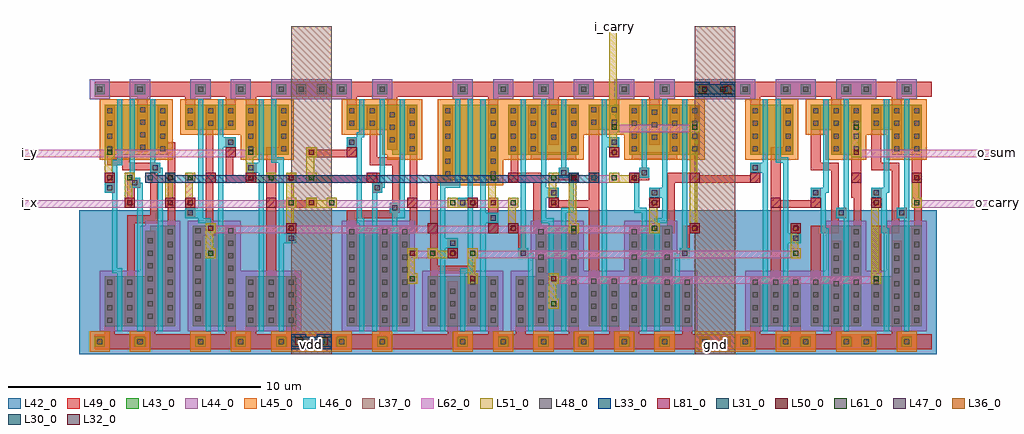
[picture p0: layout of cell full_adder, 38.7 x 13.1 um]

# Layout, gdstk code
from math import pi, radians
import gdstk
lib = gdstk.Library(unit=1e-6, precision=1e-09)
def R(c, l, rs):  # rectangles x0, y0, x1, y1
    for r in rs: c.add(gdstk.rectangle(r[:2], r[2:], *l))
def A(c, l, x, y, w, h, nx, ny, dx, dy):  # array of equal rectangles
    R(c, l, [(x+i*dx, y+j*dy, x+i*dx+w, y+j*dy+h) for i in range(nx) for j in range(ny)])
L30_0 = (30, 0)
L31_0 = (31, 0)
L32_0 = (32, 0)
L33_0 = (33, 0)
L36_0 = (36, 0)
L37_0 = (37, 0)
L42_0 = (42, 0)
L43_0 = (43, 0)
L44_0 = (44, 0)
L45_0 = (45, 0)
L46_0 = (46, 0)
L47_0 = (47, 0)
L48_0 = (48, 0)
L49_0 = (49, 0)
L50_0 = (50, 0)
L51_0 = (51, 0)
L61_0 = (61, 0)
L62_0 = (62, 0)
L81_0 = (81, 0)

and2x2 = lib.new_cell('AND2X2')
R(and2x2, L42_0, [(-0.8,4.8,4,10.5)])
R(and2x2, L43_0, [(-0.2,-0.2,0.2,0.2), (1.4,-0.2,1.8,0.2), (0.2,0.6,2.7,2.6), (2,5.4,3,5.6), (1.8,5.6,3,7.4), (0.2,7.4,3,9.4), (-0.2,9.8,0.2,10.2), (1.4,9.8,1.8,10.2)])
R(and2x2, L44_0, [(-0.4,-0.4,0.4,0.4), (1.2,-0.4,2,0.4), (1.8,5.2,3.2,5.4), (1.6,5.4,3.2,7.2), (0,7.2,3.2,9.6)])
R(and2x2, L45_0, [(0,0.4,2.9,2.8), (-0.4,9.6,0.4,10.4), (1.2,9.6,2,10.4)])
R(and2x2, L46_0, [(0.7,0.4,0.9,2.8), (1.2,0.4,1.4,3.5), (2,0.4,2.2,2.9), (0.5,2.8,0.9,3), (2,2.9,2.4,3.1), (0.5,3,0.7,3.7), (2,3.1,2.5,3.3), (2.3,3.3,2.5,9.6), (1.2,3.5,1.6,3.7), (0.2,3.7,0.7,4.1), (1.2,3.7,1.7,3.9), (1.5,3.9,1.7,9.6), (0.5,4.1,0.7,7.1), (0.5,7.1,0.9,7.3), (0.7,7.3,0.9,9.6)])
R(and2x2, L47_0, [(2.1,3,2.3,3.2), (1.3,3.6,1.5,3.8), (0.3,3.8,0.5,4)])
A(and2x2, L48_0, 1.6, 0.7, 0.2, 0.2, 1, 4, 0, 0.5)
A(and2x2, L48_0, 0.3, 0.75, 0.2, 0.2, 1, 4, 0, 0.5)
A(and2x2, L48_0, 2.4, 0.75, 0.2, 0.2, 1, 4, 0, 0.5)
A(and2x2, L48_0, 2.7, 5.55, 0.2, 0.2, 1, 8, 0, 0.5)
A(and2x2, L48_0, 1.9, 5.9, 0.2, 0.2, 1, 7, 0, 0.5)
A(and2x2, L48_0, 0.3, 7.55, 0.2, 0.2, 1, 4, 0, 0.5)
A(and2x2, L48_0, 1.1, 7.55, 0.2, 0.2, 1, 4, 0, 0.5)
R(and2x2, L48_0, [(-0.1,-0.1,0.1,0.1), (1.5,-0.1,1.7,0.1), (-0.1,9.9,0.1,10.1), (1.5,9.9,1.7,10.1)])
R(and2x2, L49_0, [(-0.2,-0.3,3.4,0.3), (1.5,0.3,1.9,2.5), (0.2,0.6,0.6,2.6), (2.3,0.6,2.7,2.1), (2.3,2.1,3,2.6), (0.3,2.6,0.6,2.7), (2.7,2.6,3,4.3), (0.3,2.7,1.2,2.9), (0.3,2.9,2.4,3), (0.9,3,2.4,3.2), (2,3.2,2.4,3.3), (0.2,3.3,0.6,4.1), (2,3.3,2.3,5), (1.2,3.5,1.6,3.6), (1.1,3.6,1.6,3.9), (1.1,3.9,1.4,4.3), (1,4.3,1.4,4.7), (2.6,4.3,3,4.7), (2.7,4.7,3,5.4), (1.1,5,2.3,5.3), (1.1,5.3,1.4,7.4), (2.6,5.4,3,9.4), (1.8,5.6,2.2,9.7), (0.2,7.4,0.6,9.7), (1,7.4,1.4,9.4), (-0.2,9.7,3.4,10.3)])
R(and2x2, L81_0, [(0.2,3.3,0.6,3.7), (1,4.3,1.4,4.7), (2.6,4.3,3,4.7)])
and2x2.add(gdstk.Label('vdd', (0.4,10), layer=109, texttype=0))
and2x2.add(gdstk.Label('gnd', (0.4,0), layer=109, texttype=0))
and2x2.add(gdstk.Label('A', (0.4,3.5), layer=109, texttype=0))
and2x2.add(gdstk.Label('B', (1.2,4.5), layer=109, texttype=0))
and2x2.add(gdstk.Label('Y', (2.8,4.5), layer=109, texttype=0))

nor2x1 = lib.new_cell('NOR2X1')
R(nor2x1, L42_0, [(-0.8,4.8,3.2,10.5)])
R(nor2x1, L43_0, [(-0.2,-0.2,0.2,0.2), (1.4,-0.2,1.8,0.2), (0.2,0.6,2.2,1.6), (0.2,5.4,1.9,9.4), (-0.2,9.8,0.2,10.2), (1.4,9.8,1.8,10.2)])
R(nor2x1, L44_0, [(-0.4,-0.4,0.4,0.4), (1.2,-0.4,2,0.4), (0,5.2,2.1,9.6)])
R(nor2x1, L45_0, [(0,0.4,2.4,1.8), (-0.4,9.6,0.4,10.4), (1.2,9.6,2,10.4)])
R(nor2x1, L46_0, [(0.7,0.4,0.9,1.9), (1.5,0.4,1.7,4.7), (0.2,1.9,0.9,2.3), (0.7,2.3,0.9,9.6), (1.5,4.7,2.2,5.1), (1.2,5.1,1.7,5.3), (1.2,5.3,1.4,9.6)])
R(nor2x1, L47_0, [(0.3,2,0.5,2.2), (1.9,4.8,2.1,5)])
A(nor2x1, L48_0, 0.3, 0.75, 0.2, 0.2, 3, 2, 0.8, 0.5)
A(nor2x1, L48_0, 0.3, 5.5, 0.2, 0.2, 1, 8, 0, 0.5)
A(nor2x1, L48_0, 1.6, 5.5, 0.2, 0.2, 1, 8, 0, 0.5)
R(nor2x1, L48_0, [(-0.1,-0.1,0.1,0.1), (1.5,-0.1,1.7,0.1), (-0.1,9.9,0.1,10.1), (1.5,9.9,1.7,10.1)])
R(nor2x1, L49_0, [(-0.2,-0.3,2.6,0.3), (0.2,0.3,0.6,1.6), (1.8,0.3,2.2,1.6), (1,0.6,1.4,1.6), (1.1,1.6,1.4,3.3), (0.2,1.9,0.6,2.7), (1,3.3,1.4,3.7), (1.1,3.7,1.4,5.4), (1.8,4.3,2.2,5.1), (0.2,5.4,0.6,9.7), (1,5.4,1.9,5.8), (1.5,5.8,1.9,9.4), (-0.2,9.7,2.6,10.3)])
R(nor2x1, L81_0, [(0.2,2.3,0.6,2.7), (1,3.3,1.4,3.7), (1.8,4.3,2.2,4.7)])
nor2x1.add(gdstk.Label('vdd', (0.4,10), layer=109, texttype=0))
nor2x1.add(gdstk.Label('B', (2,4.5), layer=109, texttype=0))
nor2x1.add(gdstk.Label('gnd', (0.4,0), layer=109, texttype=0))
nor2x1.add(gdstk.Label('Y', (1.2,3.5), layer=109, texttype=0))
nor2x1.add(gdstk.Label('A', (0.4,2.5), layer=109, texttype=0))

nand2x1 = lib.new_cell('NAND2X1')
R(nand2x1, L42_0, [(-0.8,4.8,3.2,10.5)])
R(nand2x1, L43_0, [(-0.2,-0.2,0.2,0.2), (1.4,-0.2,1.8,0.2), (0.2,0.6,1.9,2.6), (0.2,7.4,2.2,9.4), (-0.2,9.8,0.2,10.2), (1.4,9.8,1.8,10.2)])
R(nand2x1, L44_0, [(-0.4,-0.4,0.4,0.4), (1.2,-0.4,2,0.4), (0,7.2,2.4,9.6)])
R(nand2x1, L45_0, [(0,0.4,2.1,2.8), (-0.4,9.6,0.4,10.4), (1.2,9.6,2,10.4)])
R(nand2x1, L46_0, [(0.7,0.4,0.9,2.9), (1.2,0.4,1.4,2.7), (1.2,2.7,1.7,2.9), (0.2,2.9,0.9,3.3), (1.5,2.9,1.7,5.7), (0.7,3.3,0.9,9.6), (1.5,5.7,2.2,6.1), (1.5,6.1,1.7,9.6)])
R(nand2x1, L47_0, [(0.3,3,0.5,3.2), (1.9,5.8,2.1,6)])
A(nand2x1, L48_0, 0.3, 0.75, 0.2, 0.2, 1, 4, 0, 0.5)
A(nand2x1, L48_0, 1.6, 0.75, 0.2, 0.2, 1, 4, 0, 0.5)
A(nand2x1, L48_0, 0.3, 7.55, 0.2, 0.2, 3, 4, 0.8, 0.5)
R(nand2x1, L48_0, [(-0.1,-0.1,0.1,0.1), (1.5,-0.1,1.7,0.1), (-0.1,9.9,0.1,10.1), (1.5,9.9,1.7,10.1)])
R(nand2x1, L49_0, [(-0.2,-0.3,2.6,0.3), (0.2,0.3,0.6,2.6), (1.5,0.6,1.9,2.3), (1,2.3,1.9,2.6), (1,2.6,1.4,9.4), (0.2,2.9,0.6,3.7), (1.8,5.3,2.2,6.1), (0.2,7.4,0.6,9.7), (1.8,7.4,2.2,9.7), (-0.2,9.7,2.6,10.3)])
R(nand2x1, L81_0, [(0.2,3.3,0.6,3.7), (1,4.3,1.4,4.7), (1.8,5.3,2.2,5.7)])
nand2x1.add(gdstk.Label('vdd', (0.4,10), layer=109, texttype=0))
nand2x1.add(gdstk.Label('Y', (1.2,4.5), layer=109, texttype=0))
nand2x1.add(gdstk.Label('gnd', (0.4,0), layer=109, texttype=0))
nand2x1.add(gdstk.Label('A', (0.4,3.5), layer=109, texttype=0))
nand2x1.add(gdstk.Label('B', (2,5.5), layer=109, texttype=0))

fill = lib.new_cell('FILL')
R(fill, L42_0, [(-0.8,4.8,1.6,10.5)])
R(fill, L43_0, [(-0.2,-0.2,0.2,0.2), (0.6,-0.2,1,0.2), (-0.2,9.8,0.2,10.2), (0.6,9.8,1,10.2)])
R(fill, L44_0, [(-0.4,-0.4,1.2,0.4)])
R(fill, L45_0, [(-0.4,9.6,1.2,10.4)])
R(fill, L48_0, [(-0.1,-0.1,0.1,0.1), (0.7,-0.1,0.9,0.1), (-0.1,9.9,0.1,10.1), (0.7,9.9,0.9,10.1)])
R(fill, L49_0, [(-0.2,-0.3,1,0.3), (-0.2,9.7,1,10.3)])
fill.add(gdstk.Label('vdd', (0.4,10), layer=109, texttype=0))
fill.add(gdstk.Label('gnd', (0.4,0), layer=109, texttype=0))

or2x2 = lib.new_cell('OR2X2')
R(or2x2, L42_0, [(-0.7,4.8,3.5,10.5)])
R(or2x2, L43_0, [(-0.2,-0.2,0.2,0.2), (1.4,-0.2,1.8,0.2), (0.2,0.6,3,1.6), (1.8,1.6,3,2.4), (2,2.4,3,2.6), (0.2,5.4,2.7,9.4), (-0.2,9.8,0.2,10.2), (1.4,9.8,1.8,10.2)])
R(or2x2, L44_0, [(-0.4,-0.4,0.4,0.4), (1.2,-0.4,2,0.4), (0,5.2,2.9,9.6)])
R(or2x2, L45_0, [(0,0.4,3.2,1.8), (1.6,1.8,3.2,2.6), (1.8,2.6,3.2,2.8), (-0.4,9.6,0.4,10.4), (1.2,9.6,2,10.4)])
R(or2x2, L46_0, [(0.7,0.4,0.9,1.7), (1.5,0.4,1.7,3.7), (2.3,0.4,2.5,4.5), (0.6,1.7,0.9,1.9), (0.2,1.9,0.8,2.3), (0.6,2.3,0.8,5.1), (1.2,3.7,1.7,3.9), (1.2,3.9,1.6,4.1), (1.2,4.1,1.4,9.6), (1.9,4.5,2.5,4.9), (2,4.9,2.5,5.1), (0.6,5.1,0.9,5.3), (2,5.1,2.2,9.6), (0.7,5.3,0.9,9.6)])
R(or2x2, L47_0, [(0.3,2,0.5,2.2), (1.3,3.8,1.5,4), (2,4.6,2.2,4.8)])
A(or2x2, L48_0, 2.7, 0.75, 0.2, 0.2, 1, 4, 0, 0.5)
A(or2x2, L48_0, 1.9, 0.9, 0.2, 0.2, 1, 3, 0, 0.5)
A(or2x2, L48_0, 0.3, 5.55, 0.2, 0.2, 1, 8, 0, 0.5)
A(or2x2, L48_0, 1.6, 5.55, 0.2, 0.2, 1, 8, 0, 0.5)
A(or2x2, L48_0, 2.4, 5.55, 0.2, 0.2, 1, 8, 0, 0.5)
R(or2x2, L48_0, [(-0.1,-0.1,0.1,0.1), (1.5,-0.1,1.7,0.1), (0.3,0.75,0.5,0.95), (1.1,0.75,1.3,0.95), (0.3,1.25,0.5,1.45), (1.1,1.25,1.3,1.45), (-0.1,9.9,0.1,10.1), (1.5,9.9,1.7,10.1)])
R(or2x2, L49_0, [(-0.2,-0.3,3.4,0.3), (0.2,0.3,0.6,1.6), (1.8,0.3,2.2,2.4), (1,0.6,1.4,1.6), (2.6,0.6,3,2.6), (1.1,1.6,1.4,2.7), (0.2,1.9,0.6,2.7), (2.7,2.6,3,4.3), (1.1,2.7,2.3,3), (2,3,2.3,4.5), (1,3.3,1.5,3.7), (1.2,3.7,1.6,4.1), (2.6,4.3,3,4.7), (1.9,4.5,2.3,4.8), (2.7,4.7,3,5.4), (0.2,4.8,2.3,4.9), (0.2,4.9,2.2,5.1), (0.2,5.1,0.6,9.4), (1.5,5.4,1.9,9.7), (2.3,5.4,3,5.7), (2.3,5.7,2.7,9.4), (-0.2,9.7,3.4,10.3)])
R(or2x2, L81_0, [(0.2,2.3,0.6,2.7), (1,3.3,1.4,3.7), (2.6,4.3,3,4.7)])
or2x2.add(gdstk.Label('Y', (2.8,4.5), layer=109, texttype=0))
or2x2.add(gdstk.Label('B', (1.2,3.5), layer=109, texttype=0))
or2x2.add(gdstk.Label('vdd', (0.4,10), layer=109, texttype=0))
or2x2.add(gdstk.Label('gnd', (0.4,0), layer=109, texttype=0))
or2x2.add(gdstk.Label('A', (0.4,2.5), layer=109, texttype=0))

nand3x1 = lib.new_cell('NAND3X1')
R(nand3x1, L42_0, [(-0.8,4.8,4,10.5)])
R(nand3x1, L43_0, [(-0.2,-0.2,0.2,0.2), (1.4,-0.2,1.8,0.2), (0.2,0.6,2.4,3.6), (0.2,7.4,3,9.4), (-0.2,9.8,0.2,10.2), (1.4,9.8,1.8,10.2)])
R(nand3x1, L44_0, [(-0.4,-0.4,0.4,0.4), (1.2,-0.4,2,0.4), (0,7.2,3.2,9.6)])
R(nand3x1, L45_0, [(0,0.4,2.6,3.8), (-0.4,9.6,0.4,10.4), (1.2,9.6,2,10.4)])
R(nand3x1, L46_0, [(0.7,0.4,0.9,4.9), (1.2,0.4,1.4,4.3), (1.7,0.4,1.9,3.7), (1.7,3.7,2.5,3.9), (2.3,3.9,2.5,5.9), (1.2,4.3,1.8,4.7), (1.2,4.7,1.4,7.1), (0.2,4.9,0.9,5.3), (0.7,5.3,0.9,9.6), (1.8,5.9,2.5,6.3), (2.3,6.3,2.5,9.6), (1.2,7.1,1.7,7.3), (1.5,7.3,1.7,9.6)])
R(nand3x1, L47_0, [(1.5,4.4,1.7,4.6), (0.3,5,0.5,5.2), (1.9,6,2.1,6.2)])
A(nand3x1, L48_0, 0.3, 0.75, 0.2, 0.2, 1, 6, 0, 0.5)
A(nand3x1, L48_0, 2.1, 0.75, 0.2, 0.2, 1, 6, 0, 0.5)
A(nand3x1, L48_0, 0.3, 7.55, 0.2, 0.2, 1, 4, 0, 0.5)
A(nand3x1, L48_0, 1.1, 7.55, 0.2, 0.2, 1, 4, 0, 0.5)
A(nand3x1, L48_0, 2.7, 7.55, 0.2, 0.2, 1, 4, 0, 0.5)
A(nand3x1, L48_0, 1.9, 7.9, 0.2, 0.2, 1, 3, 0, 0.5)
R(nand3x1, L48_0, [(-0.1,-0.1,0.1,0.1), (1.5,-0.1,1.7,0.1), (-0.1,9.9,0.1,10.1), (1.5,9.9,1.7,10.1)])
R(nand3x1, L49_0, [(-0.2,-0.3,3.4,0.3), (0.2,0.3,0.6,3.6), (2,0.6,2.4,3.4), (2,3.4,2.9,3.6), (2.1,3.6,2.9,3.7), (2.6,3.7,2.9,5.3), (1,4.3,1.8,4.7), (0.2,4.9,0.6,5.7), (2.6,5.3,3,5.7), (2.6,5.7,2.9,7), (1.8,5.9,2.2,6.7), (1.1,7,2.9,7.3), (1.1,7.3,1.4,7.4), (2.6,7.3,2.9,7.4), (0.2,7.4,0.6,9.7), (1,7.4,1.4,9.4), (2.6,7.4,3,9.4), (1.8,7.6,2.2,9.7), (-0.2,9.7,3.4,10.3)])
R(nand3x1, L81_0, [(1,4.3,1.4,4.7), (0.2,5.3,0.6,5.7), (2.6,5.3,3,5.7), (1.8,6.3,2.2,6.7)])
nand3x1.add(gdstk.Label('B', (1.2,4.5), layer=109, texttype=0))
nand3x1.add(gdstk.Label('vdd', (0.4,10), layer=109, texttype=0))
nand3x1.add(gdstk.Label('gnd', (0.4,0), layer=109, texttype=0))
nand3x1.add(gdstk.Label('A', (0.4,5.5), layer=109, texttype=0))
nand3x1.add(gdstk.Label('C', (2,6.5), layer=109, texttype=0))
nand3x1.add(gdstk.Label('Y', (2.8,5.5), layer=109, texttype=0))

oai21x1 = lib.new_cell('OAI21X1')
R(oai21x1, L42_0, [(-0.8,4.8,3.4,10.5)])
R(oai21x1, L43_0, [(-0.2,-0.2,0.2,0.2), (1.4,-0.2,1.8,0.2), (0.2,0.6,3,2.6), (0.2,5.4,1.9,7.4), (0.2,7.4,2.7,9.4), (-0.2,9.8,0.2,10.2), (1.4,9.8,1.8,10.2)])
R(oai21x1, L44_0, [(-0.4,-0.4,0.4,0.4), (1.2,-0.4,2,0.4), (0,5.2,2.1,7.2), (0,7.2,2.9,9.6)])
R(oai21x1, L45_0, [(0,0.4,3.2,2.8), (-0.4,9.6,0.4,10.4), (1.2,9.6,2,10.4)])
R(oai21x1, L46_0, [(0.7,0.4,0.9,3.1), (1.5,0.4,1.7,3.9), (2.3,0.4,2.5,6.3), (0.6,3.1,1,3.3), (0.4,3.3,1,3.5), (0.4,3.5,0.6,4.7), (1,3.9,1.7,4.3), (1.5,4.3,1.7,5.1), (0.4,4.7,0.9,4.9), (0.7,4.9,0.9,9.6), (1.2,5.1,1.7,5.3), (1.2,5.3,1.4,9.6), (2.2,6.3,2.6,6.5), (2,6.5,2.6,6.7), (2,6.7,2.2,9.6)])
R(oai21x1, L47_0, [(0.7,3.2,0.9,3.4), (1.1,4,1.3,4.2), (2.3,6.4,2.5,6.6)])
A(oai21x1, L48_0, 0.3, 0.75, 0.2, 0.2, 1, 4, 0, 0.5)
A(oai21x1, L48_0, 1.9, 0.75, 0.2, 0.2, 1, 4, 0, 0.5)
A(oai21x1, L48_0, 2.7, 0.75, 0.2, 0.2, 1, 4, 0, 0.5)
A(oai21x1, L48_0, 1.1, 0.8, 0.2, 0.2, 1, 3, 0, 0.5)
A(oai21x1, L48_0, 0.3, 5.55, 0.2, 0.2, 1, 8, 0, 0.5)
A(oai21x1, L48_0, 1.6, 5.55, 0.2, 0.2, 1, 8, 0, 0.5)
A(oai21x1, L48_0, 2.4, 7.55, 0.2, 0.2, 1, 4, 0, 0.5)
R(oai21x1, L48_0, [(-0.1,-0.1,0.1,0.1), (1.5,-0.1,1.7,0.1), (-0.1,9.9,0.1,10.1), (1.5,9.9,1.7,10.1)])
R(oai21x1, L49_0, [(-0.2,-0.3,3.4,0.3), (1,0.3,1.4,2.2), (0.2,0.6,0.6,2.5), (1.8,0.6,2.2,2.5), (2.6,0.6,3,2.6), (0.2,2.5,2.2,2.6), (0.3,2.6,2.1,2.8), (2.6,2.6,2.9,3.3), (0.6,3.1,1,3.3), (0.2,3.3,1,3.6), (1.7,3.3,3,3.7), (0.2,3.6,0.6,3.7), (1.7,3.7,2,5.4), (1,3.9,1.4,4.7), (2.6,5.3,3,5.4), (0.2,5.4,0.6,9.7), (1.5,5.4,2,5.7), (2.3,5.4,3,5.7), (1.5,5.7,1.9,9.4), (2.3,5.7,2.6,6.3), (2.2,6.3,2.6,6.7), (2.3,7.4,2.7,9.7), (-0.2,9.7,3.4,10.3)])
R(oai21x1, L81_0, [(0.2,3.3,0.6,3.7), (2.6,3.3,3,3.7), (1,4.3,1.4,4.7), (2.6,5.3,3,5.7)])
oai21x1.add(gdstk.Label('gnd', (0.4,0), layer=109, texttype=0))
oai21x1.add(gdstk.Label('vdd', (0.4,10), layer=109, texttype=0))
oai21x1.add(gdstk.Label('A', (0.4,3.5), layer=109, texttype=0))
oai21x1.add(gdstk.Label('B', (1.2,4.5), layer=109, texttype=0))
oai21x1.add(gdstk.Label('Y', (2.8,3.5), layer=109, texttype=0))
oai21x1.add(gdstk.Label('C', (2.8,5.5), layer=109, texttype=0))

invx1 = lib.new_cell('INVX1')
R(invx1, L42_0, [(-0.9,4.8,2.6,10.5)])
R(invx1, L43_0, [(-0.2,-0.2,0.2,0.2), (0.2,0.6,1.4,1.6), (0.2,7.4,1.4,9.4), (-0.2,9.8,0.2,10.2)])
R(invx1, L44_0, [(-0.4,-0.4,0.4,0.4), (0,7.2,1.6,9.6)])
R(invx1, L45_0, [(0,0.4,1.6,1.8), (-0.4,9.6,0.4,10.4)])
R(invx1, L46_0, [(0.7,0.4,0.9,1.9), (0.2,1.9,0.9,2.3), (0.7,2.3,0.9,9.6)])
R(invx1, L47_0, [(0.3,2,0.5,2.2)])
A(invx1, L48_0, 0.3, 7.5, 0.2, 0.2, 1, 4, 0, 0.5)
A(invx1, L48_0, 1.1, 7.5, 0.2, 0.2, 1, 4, 0, 0.5)
R(invx1, L48_0, [(-0.1,-0.1,0.1,0.1), (0.3,0.7,0.5,0.9), (1.1,0.7,1.3,0.9), (0.3,1.2,0.5,1.4), (1.1,1.2,1.3,1.4), (-0.1,9.9,0.1,10.1)])
R(invx1, L49_0, [(-0.2,-0.3,1.8,0.3), (0.2,0.3,0.6,1.6), (1,0.6,1.4,9.4), (0.2,1.9,0.6,2.7), (0.2,7.4,0.6,9.7), (-0.2,9.7,1.8,10.3)])
R(invx1, L81_0, [(0.2,2.3,0.6,2.7), (1,3.3,1.4,3.7)])
invx1.add(gdstk.Label('A', (0.4,2.5), layer=109, texttype=0))
invx1.add(gdstk.Label('Y', (1.2,3.5), layer=109, texttype=0))
invx1.add(gdstk.Label('vdd', (0.4,10), layer=109, texttype=0))
invx1.add(gdstk.Label('gnd', (0.4,0), layer=109, texttype=0))

bufx2 = lib.new_cell('BUFX2')
R(bufx2, L42_0, [(-0.5,4.8,2.8,10.5)])
R(bufx2, L43_0, [(-0.2,-0.2,0.2,0.2), (1.4,-0.2,1.8,0.2), (0.2,0.6,2.2,1.6), (1,1.6,2.2,2.6), (1,5.4,2.2,7.4), (0.2,7.4,2.2,9.4), (-0.2,9.8,0.2,10.2), (1.4,9.8,1.8,10.2)])
R(bufx2, L44_0, [(-0.4,-0.4,0.4,0.4), (1.2,-0.4,2,0.4), (0.8,5.2,2.4,7.2), (0,7.2,2.4,9.6)])
R(bufx2, L45_0, [(0,0.4,2.4,1.8), (0.8,1.8,2.4,2.8), (-0.4,9.6,0.4,10.4), (1.2,9.6,2,10.4)])
R(bufx2, L46_0, [(0.7,0.4,0.9,3.9), (1.5,0.4,1.7,4.7), (0.2,3.9,0.9,4.1), (0.2,4.1,0.8,4.3), (0.6,4.3,0.8,5.5), (1.2,4.7,1.7,5.1), (1.5,5.1,1.7,9.6), (0.6,5.5,0.9,5.7), (0.7,5.7,0.9,9.6)])
R(bufx2, L47_0, [(0.3,4,0.5,4.2), (1.3,4.8,1.5,5)])
A(bufx2, L48_0, 0.3, 0.75, 0.2, 0.2, 3, 2, 0.8, 0.5)
A(bufx2, L48_0, 1.9, 5.55, 0.2, 0.2, 1, 8, 0, 0.5)
A(bufx2, L48_0, 1.1, 6.1, 0.2, 0.2, 1, 7, 0, 0.5)
A(bufx2, L48_0, 0.3, 7.55, 0.2, 0.2, 1, 4, 0, 0.5)
R(bufx2, L48_0, [(-0.1,-0.1,0.1,0.1), (1.5,-0.1,1.7,0.1), (1.1,1.75,1.3,1.95), (1.9,1.75,2.1,1.95), (1.1,2.25,1.3,2.45), (1.9,2.25,2.1,2.45), (-0.1,9.9,0.1,10.1), (1.5,9.9,1.7,10.1)])
R(bufx2, L49_0, [(-0.2,-0.3,2.6,0.3), (1,0.3,1.4,2.6), (0.2,0.6,0.6,2.9), (1.8,0.6,2.2,4.3), (0.2,2.9,1.3,3.2), (1,3.2,1.3,4.7), (0.2,3.9,0.6,4.7), (1.9,4.3,2.2,5.4), (1,4.7,1.6,5.1), (1,5.1,1.3,5.4), (0.2,5.4,1.3,5.7), (1.8,5.4,2.2,9.4), (0.2,5.7,0.6,9.4), (1,6,1.4,9.7), (-0.2,9.7,2.6,10.3)])
R(bufx2, L81_0, [(1.8,3.3,2.2,3.7), (0.2,4.3,0.6,4.7)])
bufx2.add(gdstk.Label('vdd', (0.4,10), layer=109, texttype=0))
bufx2.add(gdstk.Label('gnd', (0.4,0), layer=109, texttype=0))
bufx2.add(gdstk.Label('A', (0.4,4.5), layer=109, texttype=0))
bufx2.add(gdstk.Label('Y', (2,3.5), layer=109, texttype=0))

full_adder = lib.new_cell('full_adder')
R(full_adder, L30_0, [(8.3,0.4,8.5,0.6), (9.1,0.4,9.3,0.6), (2.3,6.9,2.5,7.1), (19.9,6.9,20.1,7.1), (24.3,10.4,24.5,10.6), (25.1,10.4,25.3,10.6)])
R(full_adder, L31_0, [(8,0.3,9.6,0.7), (2.2,6.8,3.4,7.1), (19,6.8,20.2,7.1), (2.2,7.1,2.6,7.2), (3,7.1,3.4,7.2), (19,7.1,19.4,7.2), (19.8,7.1,20.2,7.2), (24,10.3,25.6,10.7)])
R(full_adder, L32_0, [(8.3,0.4,8.5,0.6), (9,0.4,9.2,0.6), (3.1,6.9,3.3,7.1), (19.1,6.9,19.3,7.1), (24.3,10.4,24.5,10.6), (25,10.4,25.2,10.6)])
R(full_adder, L33_0, [(8,0.2,9.6,0.7), (8,0.7,8.6,0.8), (9,0.7,9.6,0.8), (3,6.8,19.4,7.1), (3,7.1,3.4,7.2), (19,7.1,19.4,7.2), (24,10.2,25.6,10.7), (24,10.7,24.6,10.8), (25,10.7,25.6,10.8)])
R(full_adder, L36_0, [(8.15,0.35,8.45,0.65), (9.15,0.35,9.45,0.65), (24.15,10.35,24.45,10.65), (25.15,10.35,25.45,10.65)])
R(full_adder, L37_0, [(8,0,9.6,13), (24,0,25.6,13)])
R(full_adder, L49_0, [(8,0.3,9.6,0.7), (15,2.8,15.4,3.2), (18.1,2.8,18.6,3.2), (12.6,3.8,13,4.2), (14.2,3.8,14.6,4.2), (4.6,4.8,5,5.2), (7.8,4.8,8.2,5.2), (16.6,4.8,17,5.2), (23.8,4.8,24.2,5.2), (27.8,4.8,28.2,5.2), (15.8,5.6,16.2,6.2), (1.4,5.8,1.8,6.2), (3,5.8,3.4,6.2), (3.8,5.8,4.2,6.2), (7,5.8,9,6.1), (15,5.8,15.4,6.2), (18.2,5.8,20.1,6.1), (22.2,5.8,22.6,6.2), (27,5.8,28.9,6.1), (31,5.8,31.4,6.2), (8.6,6.1,9,6.2), (18.2,6.1,18.6,6.2), (0.6,6.8,1,7.2), (5.4,6.8,6.6,7.1), (7.8,6.8,11.3,7.1), (19,6.8,19.4,7.2), (21.4,6.8,21.8,7.2), (23.8,6.8,26.5,7.1), (32.6,6.8,33,7.2), (5.4,7.1,5.7,8.1), (6.2,7.1,6.6,7.2), (7.8,7.1,8.2,7.2), (8.6,7.8,10.5,8.1), (20.6,7.8,21,8.2), (30.2,7.8,30.6,8.2), (8.6,8.1,9,8.2), (24,10.3,25.6,10.7)])
R(full_adder, L50_0, [(8.3,0.4,8.5,0.6), (9,0.4,9.2,0.6), (15.1,2.9,15.3,3.1), (18.3,2.9,18.5,3.1), (12.7,3.9,12.9,4.1), (14.3,3.9,14.5,4.1), (4.7,4.9,4.9,5.1), (7.9,4.9,8.1,5.1), (16.7,4.9,16.9,5.1), (23.9,4.9,24.1,5.1), (27.9,4.9,28.1,5.1), (1.5,5.9,1.7,6.1), (3.1,5.9,3.3,6.1), (3.9,5.9,4.1,6.1), (8.7,5.9,8.9,6.1), (15.1,5.9,15.3,6.1), (15.9,5.9,16.1,6.1), (18.3,5.9,18.5,6.1), (22.3,5.9,22.5,6.1), (31.1,5.9,31.3,6.1), (0.7,6.9,0.9,7.1), (6.3,6.9,6.5,7.1), (7.9,6.9,8.1,7.1), (19.1,6.9,19.3,7.1), (21.5,6.9,21.7,7.1), (32.7,6.9,32.9,7.1), (8.7,7.9,8.9,8.1), (20.7,7.9,20.9,8.1), (30.3,7.9,30.5,8.1), (24.3,10.4,24.5,10.6), (25,10.4,25.2,10.6)])
A(full_adder, L51_0, 7.8, 4.8, 0.4, 0.4, 1, 3, 0, 1)
R(full_adder, L51_0, [(8,0.3,9.6,0.7), (18.2,1.8,18.6,2.2), (18.2,2.2,18.5,2.8), (12.6,2.8,13,3.2), (15,2.8,15.4,3.2), (18.2,2.8,18.6,3.2), (31,2.8,31.4,3.2), (12.6,3.2,12.9,3.8), (15,3.2,15.3,3.8), (31,3.2,31.3,5.8), (4.6,3.8,5,4.2), (12.6,3.8,13,4.2), (13.4,3.8,14.6,4.1), (15,3.8,15.4,4.2), (27.8,3.8,28.2,4.2), (13.4,4.1,13.8,4.2), (14.2,4.1,14.6,4.2), (4.6,4.2,4.9,4.8), (27.8,4.2,28.1,4.8), (4.6,4.8,5,5.2), (16.6,4.8,17,5.2), (19,4.8,19.4,5.2), (22.2,4.8,22.6,5.2), (23.8,4.8,24.2,5.2), (27.8,4.8,28.2,5.2), (7.8,5.2,8.1,5.8), (16.6,5.2,16.9,5.8), (19,5.2,19.3,6.8), (22.2,5.2,22.5,5.8), (23.8,5.2,24.1,8.8), (1.4,5.8,1.8,6.2), (3,5.8,3.4,6.2), (3.8,5.8,4.2,6.2), (8.6,5.8,9.8,6.1), (14.2,5.8,15.4,6.1), (15.8,5.8,16.2,6.2), (16.6,5.8,17,6.2), (18.2,5.8,18.6,6.2), (22.2,5.8,22.6,6.2), (31,5.8,31.4,6.2), (32.6,5.8,33,6.2), (8.6,6.1,9,6.2), (9.4,6.1,9.8,6.2), (14.2,6.1,14.6,6.2), (15,6.1,15.4,6.2), (1.4,6.2,1.7,6.8), (3,6.2,3.3,6.8), (3.8,6.2,4.1,6.8), (7.8,6.2,8.1,6.8), (15.8,6.2,16.1,6.8), (18.2,6.2,18.5,6.8), (32.6,6.2,32.9,6.8), (0.6,6.8,1,7.2), (1.4,6.8,1.8,7.2), (3,6.8,3.4,7.2), (3.8,6.8,4.2,7.2), (6.2,6.8,7.4,7.1), (8.6,6.8,9,7.2), (15.8,6.8,16.2,7.2), (18.2,6.8,18.6,7.2), (19,6.8,19.4,7.2), (20.6,6.8,21.8,7.1), (32.6,6.8,33,7.2), (6.2,7.1,6.6,7.2), (7,7.1,7.4,7.2), (20.6,7.1,21,7.2), (21.4,7.1,21.8,7.2), (0.6,7.2,0.9,7.8), (6.2,7.2,6.5,7.8), (8.6,7.2,8.9,7.8), (0.6,7.8,1,8.2), (6.2,7.8,6.6,8.2), (8.6,7.8,9,8.2), (20.6,7.8,21,8.2), (30.2,7.8,30.6,8.2), (20.6,8.2,20.9,8.8), (30.2,8.2,30.5,8.8), (20.6,8.8,21,9.2), (23.8,8.8,24.2,9.2), (30.2,8.8,30.6,9.2), (20.6,9.2,20.9,13.1), (24,10.3,25.6,10.7)])
A(full_adder, L61_0, 15.9, 6.9, 0.2, 0.2, 3, 1, 2.4, 0)
R(full_adder, L61_0, [(8.3,0.4,8.5,0.6), (9,0.4,9.2,0.6), (18.3,1.9,18.5,2.1), (12.7,2.9,12.9,3.1), (31.1,2.9,31.3,3.1), (4.7,3.9,4.9,4.1), (13.5,3.9,13.7,4.1), (15.1,3.9,15.3,4.1), (27.9,3.9,28.1,4.1), (19.1,4.9,19.3,5.1), (22.3,4.9,22.5,5.1), (7.9,5.9,8.1,6.1), (9.5,5.9,9.7,6.1), (14.3,5.9,14.5,6.1), (16.7,5.9,16.9,6.1), (32.7,5.9,32.9,6.1), (1.5,6.9,1.7,7.1), (3.1,6.9,3.3,7.1), (3.9,6.9,4.1,7.1), (7.1,6.9,7.3,7.1), (8.7,6.9,8.9,7.1), (0.7,7.9,0.9,8.1), (6.3,7.9,6.5,8.1), (20.7,8.9,20.9,9.1), (23.9,8.9,24.1,9.1), (30.3,8.9,30.5,9.1), (24.3,10.4,24.5,10.6), (25,10.4,25.2,10.6)])
R(full_adder, L62_0, [(8,0.3,9.6,0.7), (18.2,1.8,18.6,2.2), (18.2,2.2,18.5,2.8), (12.6,2.8,13,3.2), (18.2,2.8,31.4,3.1), (31,3.1,31.4,3.2), (12.6,3.2,12.9,3.8), (4.6,3.8,5,4.2), (12.6,3.8,13.8,4.1), (15,3.8,28.2,4.1), (13.4,4.1,13.8,4.2), (15,4.1,15.4,4.2), (27.8,4.1,28.2,4.2), (4.6,4.2,4.9,4.8), (4.6,4.8,22.6,5.1), (19,5.1,19.4,5.2), (22.2,5.1,22.6,5.2), (-2.6,5.8,8.2,6.1), (9.4,5.8,17,6.1), (32.6,5.8,36.1,6.1), (1.4,6.1,1.7,6.8), (3.8,6.1,4.1,6.8), (7.8,6.1,8.2,6.2), (9.4,6.1,9.8,6.2), (14.2,6.1,14.6,6.2), (16.6,6.1,17,6.2), (32.6,6.1,33,6.2), (1.4,6.8,1.8,7.2), (2.2,6.8,3.4,7.1), (3.8,6.8,4.2,7.2), (7,6.8,9,7.1), (15.8,6.8,18.6,7.1), (19.8,6.8,21,7.1), (2.2,7.1,2.6,7.2), (3,7.1,3.4,7.2), (7,7.1,7.4,7.2), (8.6,7.1,9,7.2), (15.8,7.1,16.2,7.2), (18.2,7.1,18.6,7.2), (19.8,7.1,20.2,7.2), (20.6,7.1,21,7.2), (-2.6,7.8,6.6,8.1), (30.2,7.8,36.1,8.1), (0.6,8.1,1,8.2), (6.2,8.1,6.6,8.2), (30.2,8.1,30.5,8.8), (20.6,8.8,24.2,9.1), (30.2,8.8,30.6,9.2), (20.6,9.1,21,9.2), (23.8,9.1,24.2,9.2), (24,10.3,25.6,10.7)])
full_adder.add(gdstk.Reference(and2x2, (0.4,10.5), x_reflection=True))
full_adder.add(gdstk.Reference(nor2x1, (6,10.5), rotation=pi))
full_adder.add(gdstk.Reference(nand2x1, (6,10.5), x_reflection=True))
full_adder.add(gdstk.Reference(fill, (8.4,10.5), x_reflection=True))
full_adder.add(gdstk.Reference(fill, (9.2,10.5), x_reflection=True))
full_adder.add(gdstk.Reference(or2x2, (10,10.5), x_reflection=True))
full_adder.add(gdstk.Reference(nand3x1, (16.4,10.5), rotation=pi))
full_adder.add(gdstk.Reference(oai21x1, (19.6,10.5), rotation=pi))
full_adder.add(gdstk.Reference(invx1, (21.2,10.5), rotation=pi))
full_adder.add(gdstk.Reference(oai21x1, (21.2,10.5), x_reflection=True))
full_adder.add(gdstk.Reference(fill, (24.4,10.5), x_reflection=True))
full_adder.add(gdstk.Reference(fill, (25.2,10.5), x_reflection=True))
full_adder.add(gdstk.Reference(nand2x1, (26,10.5), x_reflection=True))
full_adder.add(gdstk.Reference(bufx2, (28.4,10.5), x_reflection=True))
full_adder.add(gdstk.Reference(bufx2, (30.8,10.5), x_reflection=True))
full_adder.add(gdstk.Label('vdd', (8.8,0.4), layer=37, texttype=0))
full_adder.add(gdstk.Label('gnd', (24.8,0.4), layer=37, texttype=0))
full_adder.add(gdstk.Label('i_x', (-2.4,6), layer=62, texttype=0))
full_adder.add(gdstk.Label('i_y', (-2.4,8), layer=62, texttype=0))
full_adder.add(gdstk.Label('i_carry', (20.8,13), layer=51, texttype=0))
full_adder.add(gdstk.Label('o_sum', (36,8), layer=62, texttype=0))
full_adder.add(gdstk.Label('o_carry', (36,6), layer=62, texttype=0))

lib.write_gds('full_adder.gds')
